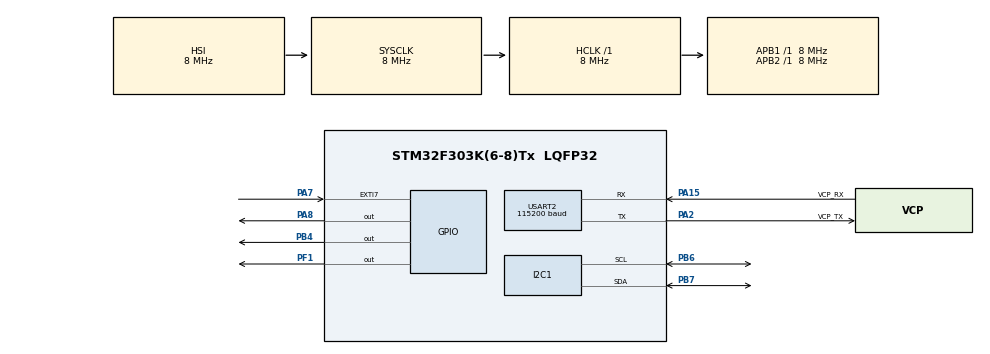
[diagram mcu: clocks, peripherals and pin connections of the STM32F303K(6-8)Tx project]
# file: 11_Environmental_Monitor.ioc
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I2C1.Timing=0x00201D2B
Mcu.Family=STM32F3
Mcu.Name=STM32F303K(6-8)Tx
Mcu.Package=LQFP32
NVIC.EXTI9_5_IRQn=true\:0\:0\:false\:false\:true\:true\:true\:true
NVIC.PriorityGroup=NVIC_PRIORITYGROUP_4
NVIC.TIM3_IRQn=true\:0\:0\:false\:false\:true\:true\:true\:true
NVIC.USART2_IRQn=true\:0\:0\:false\:false\:true\:true\:true\:true
PA13.GPIO_Label=SWDIO
PA13.Mode=Serial_Wire
PA13.Signal=SYS_JTMS-SWDIO
PA14.GPIO_Label=SWCLK
PA14.Mode=Serial_Wire
PA14.Signal=SYS_JTCK-SWCLK
PA15.GPIO_Label=VCP_RX
PA15.Mode=Asynchronous
PA15.Signal=USART2_RX
PA2.GPIO_Label=VCP_TX
PA2.Mode=Asynchronous
PA2.Signal=USART2_TX
PA7.Signal=GPXTI7
PA8.Signal=GPIO_Output
PB4.Signal=GPIO_Output
PB6.Mode=I2C
PB6.Signal=I2C1_SCL
PB7.Mode=I2C
PB7.Signal=I2C1_SDA
PF0\ /\ OSC_IN.GPIO_Label=MCO
PF0\ /\ OSC_IN.Mode=HSE-External-Clock-Source
PF0\ /\ OSC_IN.Signal=RCC_OSC_IN
PF1\ /\ OSC_OUT.Signal=GPIO_Output
ProjectManager.HeapSize=0x200
ProjectManager.StackSize=0x400
ProjectManager.TargetToolchain=STM32CubeIDE
RCC.AHBFreq_Value=8000000
RCC.APB1Freq_Value=8000000
RCC.APB2Freq_Value=8000000
RCC.CortexFreq_Value=8000000
RCC.HSE_VALUE=8000000
RCC.HSI_VALUE=8000000
RCC.SYSCLKFreq_VALUE=8000000
TIM3.Period=1000-1
TIM3.Prescaler=8-1
USART2.BaudRate=115200
USART2.VirtualMode-Asynchronous=VM_ASYNC
VP_TIM3_VS_ClockSourceINT.Mode=Internal
board=NUCLEO-F303K8

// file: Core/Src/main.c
/* USER CODE BEGIN Header */
/**
  ******************************************************************************
  * @file           : main.c
  * @brief          : Main program body
  ******************************************************************************
  * @attention
  *
  * Copyright (c) 2026 STMicroelectronics.
  * All rights reserved.
  *
  * This software is licensed under terms that can be found in the LICENSE file
  * in the root directory of this software component.
  * If no LICENSE file comes with this software, it is provided AS-IS.
  *
  ******************************************************************************
  */
/* USER CODE END Header */
#include "main.h"

/* USER CODE BEGIN Includes */

#include <stdbool.h>
#include <stdio.h>
#include <math.h>
#include <string.h>

/* USER CODE END Includes */

/* USER CODE BEGIN PD */

#define SEGMENT_BLANK 0b00000000
#define SEGMENT_NEGATIVE 0b01000000
#define SEGMENT_DP 0b10000000

#define BME280_addr (0x76 << 1)

/* USER CODE END PD */

I2C_HandleTypeDef hi2c1;

TIM_HandleTypeDef htim3;

UART_HandleTypeDef huart2;

/* USER CODE BEGIN PV */

// 7 segment display variables
const uint8_t digit_segments[10] = {
		0b00111111, //0
		0b00000110, //1
		0b01011011, //2
		0b01001111, //3
		0b01100110, //4
		0b01101101, //5
		0b01111101, //6
		0b00000111, //7
		0b01111111, //8
		0b01100111  //9
};

const uint8_t digit_position[4] = { // 3 is rightmost digit
		0b00001000, //0
		0b00000100, //1
		0b00000010, //2
		0b00000001  //3
};

uint8_t segment_display[4] = {
		SEGMENT_BLANK,
		SEGMENT_BLANK,
		SEGMENT_BLANK,
		SEGMENT_BLANK};

uint16_t segment_position_binary[4];

float input;

// Button debounce variables

uint32_t currentDebounce = 0;
uint32_t lastDebounce = 0;
volatile uint8_t state = 0;

// BME280 variables

uint8_t config_hum = 0x01;
uint8_t config_pres_temp = 0x27;

HAL_StatusTypeDef ret;

uint8_t sensor_data[8];

int32_t pres_data;
int32_t temp_data;
uint16_t hum_data;

float temperature;
float pressure;
float humidity;

// Calibration parameter variables
uint16_t dig_T1;
int16_t dig_T2;
int16_t dig_T3;

uint16_t dig_P1;
int16_t dig_P2;
int16_t dig_P3;
int16_t dig_P4;
int16_t dig_P5;
int16_t dig_P6;
int16_t dig_P7;
int16_t dig_P8;
int16_t dig_P9;

uint8_t dig_H1;
int16_t dig_H2;
uint8_t dig_H3;
int16_t dig_H4;
int16_t dig_H5;
int8_t dig_H6;

// UART varaibles

char rx_buffer[30];
char command_buffer[30];
char rx_char;
int array_index = 0;

volatile bool output_flag = false;
volatile bool command_uncomplete = false;
bool stream = false;

const char *state_name[3] = {
		"temperature",
		"pressure",
		"humidity"};

/* USER CODE END PV */

void SystemClock_Config(void);
static void MX_GPIO_Init(void);
static void MX_USART2_UART_Init(void);
static void MX_I2C1_Init(void);
static void MX_TIM3_Init(void);
/* USER CODE BEGIN PFP */

// prototype functions

// 7 segment display
void float_to_digit (float num, uint8_t decimal);

// BME280 sensor
HAL_StatusTypeDef BME280_init(void);
HAL_StatusTypeDef BME280_calibration_parameters(void);
void BME280_ReadData(void);

int32_t  BME280_compensate_T_int32(int32_t adc_T);
uint32_t BME280_compensate_P_int64(int32_t adc_P);
uint32_t BME280_compensate_H_int32(int32_t adc_H);

// UART
void print_serial_monitor(void);

/* USER CODE END PFP */

int main(void)
{

  /* MCU Configuration--------------------------------------------------------*/

  /* Reset of all peripherals, Initializes the Flash interface and the Systick. */
  HAL_Init();

  /* Configure the system clock */
  SystemClock_Config();

  /* Initialize all configured peripherals */
  MX_GPIO_Init();
  MX_USART2_UART_Init();
  MX_I2C1_Init();
  MX_TIM3_Init();
  /* USER CODE BEGIN 2 */

  // Start sensor
  ret = BME280_init();
  if(ret != HAL_OK){
  		printf("BME280 initialization error\r\n");
  		return ret;
  }

  // Timer starts
  HAL_TIM_Base_Start_IT(&htim3);

  // UART takes char from serial monitor
  HAL_UART_Receive_IT(&huart2, (uint8_t *)&rx_char, 1);

  /* USER CODE END 2 */

  /* Infinite loop */
  /* USER CODE BEGIN WHILE */
  while (1)
  {

	  // Read data from sensor
	  BME280_ReadData();

	  switch(state){
		case 0:
			float_to_digit(temperature, 1);
			break;
		case 1:
			float_to_digit(pressure, 0);
			break;
		case 2:
			float_to_digit(humidity, 1);
			break;
		default:
		    break;
	  }

	  if(stream){
		  printf("Temperature: %.2f °C\r\n", temperature);
		  printf("Pressure: %.2f hPa\r\n", pressure);
		  printf("Humidity: %.2f %%RH\r\n", humidity);
		  printf("State: %s\r\n\n", state_name[state]);
	  }

	  if(output_flag){
		  print_serial_monitor();
		  output_flag = false;
	  }

	  if (command_uncomplete)
	  {
	      printf("Command still in progress, please wait!\r\n");
	      command_uncomplete = false;
	  }

	  HAL_Delay(750);

    /* USER CODE END WHILE */

  }
}

void SystemClock_Config(void)
{
  RCC_OscInitTypeDef RCC_OscInitStruct = {0};
  RCC_ClkInitTypeDef RCC_ClkInitStruct = {0};
  RCC_PeriphCLKInitTypeDef PeriphClkInit = {0};

  /** Initializes the RCC Oscillators according to the specified parameters
  * in the RCC_OscInitTypeDef structure.
  */
  RCC_OscInitStruct.OscillatorType = RCC_OSCILLATORTYPE_HSI;
  RCC_OscInitStruct.HSIState = RCC_HSI_ON;
  RCC_OscInitStruct.HSICalibrationValue = RCC_HSICALIBRATION_DEFAULT;
  RCC_OscInitStruct.PLL.PLLState = RCC_PLL_NONE;
  if (HAL_RCC_OscConfig(&RCC_OscInitStruct) != HAL_OK)
  {
    Error_Handler();
  }

  /** Initializes the CPU, AHB and APB buses clocks
  */
  RCC_ClkInitStruct.ClockType = RCC_CLOCKTYPE_HCLK|RCC_CLOCKTYPE_SYSCLK
                              |RCC_CLOCKTYPE_PCLK1|RCC_CLOCKTYPE_PCLK2;
  RCC_ClkInitStruct.SYSCLKSource = RCC_SYSCLKSOURCE_HSI;
  RCC_ClkInitStruct.AHBCLKDivider = RCC_SYSCLK_DIV1;
  RCC_ClkInitStruct.APB1CLKDivider = RCC_HCLK_DIV1;
  RCC_ClkInitStruct.APB2CLKDivider = RCC_HCLK_DIV1;

  if (HAL_RCC_ClockConfig(&RCC_ClkInitStruct, FLASH_LATENCY_0) != HAL_OK)
  {
    Error_Handler();
  }
  PeriphClkInit.PeriphClockSelection = RCC_PERIPHCLK_I2C1;
  PeriphClkInit.I2c1ClockSelection = RCC_I2C1CLKSOURCE_HSI;
  if (HAL_RCCEx_PeriphCLKConfig(&PeriphClkInit) != HAL_OK)
  {
    Error_Handler();
  }
}

static void MX_I2C1_Init(void)
{

  hi2c1.Instance = I2C1;
  hi2c1.Init.Timing = 0x00201D2B;
  hi2c1.Init.OwnAddress1 = 0;
  hi2c1.Init.AddressingMode = I2C_ADDRESSINGMODE_7BIT;
  hi2c1.Init.DualAddressMode = I2C_DUALADDRESS_DISABLE;
  hi2c1.Init.OwnAddress2 = 0;
  hi2c1.Init.OwnAddress2Masks = I2C_OA2_NOMASK;
  hi2c1.Init.GeneralCallMode = I2C_GENERALCALL_DISABLE;
  hi2c1.Init.NoStretchMode = I2C_NOSTRETCH_DISABLE;
  if (HAL_I2C_Init(&hi2c1) != HAL_OK)
  {
    Error_Handler();
  }

  /** Configure Analogue filter
  */
  if (HAL_I2CEx_ConfigAnalogFilter(&hi2c1, I2C_ANALOGFILTER_ENABLE) != HAL_OK)
  {
    Error_Handler();
  }

  /** Configure Digital filter
  */
  if (HAL_I2CEx_ConfigDigitalFilter(&hi2c1, 0) != HAL_OK)
  {
    Error_Handler();
  }

}

static void MX_TIM3_Init(void)
{

  TIM_ClockConfigTypeDef sClockSourceConfig = {0};
  TIM_MasterConfigTypeDef sMasterConfig = {0};

  htim3.Instance = TIM3;
  htim3.Init.Prescaler = 8-1;
  htim3.Init.CounterMode = TIM_COUNTERMODE_UP;
  htim3.Init.Period = 1000-1;
  htim3.Init.ClockDivision = TIM_CLOCKDIVISION_DIV1;
  htim3.Init.AutoReloadPreload = TIM_AUTORELOAD_PRELOAD_DISABLE;
  if (HAL_TIM_Base_Init(&htim3) != HAL_OK)
  {
    Error_Handler();
  }
  sClockSourceConfig.ClockSource = TIM_CLOCKSOURCE_INTERNAL;
  if (HAL_TIM_ConfigClockSource(&htim3, &sClockSourceConfig) != HAL_OK)
  {
    Error_Handler();
  }
  sMasterConfig.MasterOutputTrigger = TIM_TRGO_RESET;
  sMasterConfig.MasterSlaveMode = TIM_MASTERSLAVEMODE_DISABLE;
  if (HAL_TIMEx_MasterConfigSynchronization(&htim3, &sMasterConfig) != HAL_OK)
  {
    Error_Handler();
  }

}

static void MX_USART2_UART_Init(void)
{

  huart2.Instance = USART2;
  huart2.Init.BaudRate = 115200;
  huart2.Init.WordLength = UART_WORDLENGTH_8B;
  huart2.Init.StopBits = UART_STOPBITS_1;
  huart2.Init.Parity = UART_PARITY_NONE;
  huart2.Init.Mode = UART_MODE_TX_RX;
  huart2.Init.HwFlowCtl = UART_HWCONTROL_NONE;
  huart2.Init.OverSampling = UART_OVERSAMPLING_16;
  huart2.Init.OneBitSampling = UART_ONE_BIT_SAMPLE_DISABLE;
  huart2.AdvancedInit.AdvFeatureInit = UART_ADVFEATURE_NO_INIT;
  if (HAL_UART_Init(&huart2) != HAL_OK)
  {
    Error_Handler();
  }

}

static void MX_GPIO_Init(void)
{
  GPIO_InitTypeDef GPIO_InitStruct = {0};

  /* GPIO Ports Clock Enable */
  __HAL_RCC_GPIOF_CLK_ENABLE();
  __HAL_RCC_GPIOA_CLK_ENABLE();
  __HAL_RCC_GPIOB_CLK_ENABLE();

  /*Configure GPIO pin Output Level */
  HAL_GPIO_WritePin(GPIOF, GPIO_PIN_1, GPIO_PIN_RESET);

  /*Configure GPIO pin Output Level */
  HAL_GPIO_WritePin(GPIOA, GPIO_PIN_8, GPIO_PIN_RESET);

  /*Configure GPIO pin Output Level */
  HAL_GPIO_WritePin(GPIOB, GPIO_PIN_4, GPIO_PIN_RESET);

  /*Configure GPIO pin : PF1 */
  GPIO_InitStruct.Pin = GPIO_PIN_1;
  GPIO_InitStruct.Mode = GPIO_MODE_OUTPUT_PP;
  GPIO_InitStruct.Pull = GPIO_NOPULL;
  GPIO_InitStruct.Speed = GPIO_SPEED_FREQ_LOW;
  HAL_GPIO_Init(GPIOF, &GPIO_InitStruct);

  /*Configure GPIO pin : PA7 */
  GPIO_InitStruct.Pin = GPIO_PIN_7;
  GPIO_InitStruct.Mode = GPIO_MODE_IT_RISING;
  GPIO_InitStruct.Pull = GPIO_NOPULL;
  HAL_GPIO_Init(GPIOA, &GPIO_InitStruct);

  /*Configure GPIO pin : PA8 */
  GPIO_InitStruct.Pin = GPIO_PIN_8;
  GPIO_InitStruct.Mode = GPIO_MODE_OUTPUT_PP;
  GPIO_InitStruct.Pull = GPIO_NOPULL;
  GPIO_InitStruct.Speed = GPIO_SPEED_FREQ_LOW;
  HAL_GPIO_Init(GPIOA, &GPIO_InitStruct);

  /*Configure GPIO pin : PB4 */
  GPIO_InitStruct.Pin = GPIO_PIN_4;
  GPIO_InitStruct.Mode = GPIO_MODE_OUTPUT_PP;
  GPIO_InitStruct.Pull = GPIO_NOPULL;
  GPIO_InitStruct.Speed = GPIO_SPEED_FREQ_LOW;
  HAL_GPIO_Init(GPIOB, &GPIO_InitStruct);

  /* EXTI interrupt init*/
  HAL_NVIC_SetPriority(EXTI9_5_IRQn, 0, 0);
  HAL_NVIC_EnableIRQ(EXTI9_5_IRQn);

}

/* USER CODE BEGIN 4 */

// Function to convert float to 4 digits for 7 segment display

void float_to_digit (float num, uint8_t decimal){

	bool negative = false;
	bool value_is_zero;
	uint16_t temp_num;
	uint8_t decimal_position;

	num = num * pow(10, decimal);

	if(num < 0){
		negative = true;
		num = -num;
	}

	temp_num = (uint16_t)(num + 0.5f);

	value_is_zero = (temp_num == 0);

	for(uint8_t i = 0; i < 4; i ++){
		if(temp_num > 0 || (value_is_zero && i == 0)){
			segment_display[3-i] = digit_segments[temp_num % 10];
			temp_num = temp_num / 10;
		}
		else if(negative){
			segment_display[3-i] = SEGMENT_NEGATIVE;
			negative = false;
		}
		else
			segment_display[3-i] = SEGMENT_BLANK;
	}

	if(decimal > 0 && decimal <4){
		decimal_position = 3 - decimal;

		if(segment_display[decimal_position] == SEGMENT_BLANK)
			segment_display[decimal_position] = digit_segments[0];

		segment_display[decimal_position] = segment_display[decimal_position] | SEGMENT_DP;
	}
}

void ShiftOut16(uint16_t input)
{
    for(int i = 15; i >= 0; i--)
    {
        // Put bit i onto DATA
    	if(input & (1U << i))
    		HAL_GPIO_WritePin(GPIOF, GPIO_PIN_1, GPIO_PIN_SET);
    	else
    		HAL_GPIO_WritePin(GPIOF, GPIO_PIN_1, GPIO_PIN_RESET);

        // Pulse CLOCK
    	HAL_GPIO_WritePin(GPIOB, GPIO_PIN_4, GPIO_PIN_SET);
    	HAL_GPIO_WritePin(GPIOB, GPIO_PIN_4, GPIO_PIN_RESET);
    }

    // Pulse LATCH
    HAL_GPIO_WritePin(GPIOA, GPIO_PIN_8, GPIO_PIN_SET);
    HAL_GPIO_WritePin(GPIOA, GPIO_PIN_8, GPIO_PIN_RESET);
}

void refresh_display(void){

	static uint8_t digit_current = 0;

	segment_position_binary[digit_current] = (uint16_t)segment_display[digit_current] << 8 | digit_position[digit_current];

    ShiftOut16(segment_position_binary[digit_current]);

    digit_current++;

    if (digit_current >= 4)
    	digit_current = 0;
}

void HAL_TIM_PeriodElapsedCallback (TIM_HandleTypeDef * htim){

	if(htim == &htim3){
		refresh_display();
	}

}

// Function for button & debounce

void HAL_GPIO_EXTI_Callback(uint16_t GPIO_Pin){

	currentDebounce = HAL_GetTick();

	if((currentDebounce-lastDebounce) >= 125 && GPIO_Pin == GPIO_PIN_7){
		lastDebounce = currentDebounce;

		if(state < 2)
			state ++;
		else
			state = 0;

	}
}

// Functions for BME280 sensor

HAL_StatusTypeDef  BME280_init(){

	HAL_StatusTypeDef ret;

	ret = HAL_I2C_Mem_Write(&hi2c1, BME280_addr, 0xF2, I2C_MEMADD_SIZE_8BIT, &config_hum, 1, HAL_MAX_DELAY);
	if(ret != HAL_OK){
		printf("Write Error for humidity sensor\r\n");
		return ret;
	}
	ret = HAL_I2C_Mem_Write(&hi2c1, BME280_addr, 0xF4, I2C_MEMADD_SIZE_8BIT, &config_pres_temp, 1, HAL_MAX_DELAY);
	if(ret != HAL_OK){
		printf("Write Error for temperature & pressure sensor\r\n");
		return ret;
	}

	return BME280_calibration_parameters();

}

void BME280_ReadData(){

	ret = HAL_I2C_Mem_Read(&hi2c1, BME280_addr, 0xF7, I2C_MEMADD_SIZE_8BIT, sensor_data, 8, HAL_MAX_DELAY);
	if(ret != HAL_OK){
		printf("Read Error\r\n");
		return;
	}

	pres_data = ((int32_t)sensor_data[0] << 12 ) | ((int32_t)sensor_data[1] <<4 ) | ((int32_t)sensor_data[2] >> 4 );

	temp_data = ((int32_t)sensor_data[3] << 12)| ((int32_t)sensor_data[4] <<4)  | ((int32_t)sensor_data[5] >> 4 );

	hum_data = ((uint32_t)sensor_data[6]<< 8) | ((uint32_t)sensor_data[7]);

	temperature = BME280_compensate_T_int32(temp_data) / 100.0f;
	pressure = BME280_compensate_P_int64(pres_data) / 25600.0f;
	humidity = BME280_compensate_H_int32(hum_data) / 1024.0f;

}

// UART function to store string in char array

void HAL_UART_RxCpltCallback(UART_HandleTypeDef *huart)
{
	if(huart == &huart2){
		if(rx_char == '\r' || rx_char == '\n'){

			if(array_index > 0){

				rx_buffer[array_index] = '\0';

				if(!output_flag){
					strcpy(command_buffer, rx_buffer);
					output_flag = true;
				}
				else
				{
				    command_uncomplete = true;
				}

				array_index = 0;
			}
		}
		else if(array_index < (sizeof(rx_buffer) - 1)){
			rx_buffer[array_index] = rx_char;
			array_index++;
		}

	HAL_UART_Receive_IT(&huart2, (uint8_t *)&rx_char, 1);

	}
}

// Print to serial monitor function

void print_serial_monitor(void){

	if(strcmp(command_buffer,"stream") == 0){
		stream = true;
		printf("Stream enabled\r\n");
	}
	else if(strcmp(command_buffer,"stop") == 0){
		stream = false;
		printf("Stream disabled\r\n");
	}
	else if(strcmp(command_buffer,"temp") == 0){
		printf("Temperature: %.2f °C\r\n", temperature);
	}
	else if(strcmp(command_buffer,"pres") == 0){
		printf("Pressure: %.2f hPa\r\n", pressure);
	}
	else if(strcmp(command_buffer,"hum") == 0){
		printf("Humidity: %.2f %%RH\r\n", humidity);
	}
	else if(strcmp(command_buffer,"state") == 0){
		printf("State: %s\r\n", state_name[state]);
	}
	else{
		printf("Unrecognized command.\r\n");
	}

	printf("\n");

}

// Necessary function to allow printf to work

int __io_putchar(int ch)
{
	HAL_UART_Transmit(&huart2, (uint8_t *)&ch, 1, HAL_MAX_DELAY);
	return ch;
}

//Storing the hard-coded calibration parameters from bme280 into usable variables

HAL_StatusTypeDef BME280_calibration_parameters(){

uint8_t calibration1[26];
uint8_t calibration2[7];

HAL_StatusTypeDef ret;

ret = HAL_I2C_Mem_Read(&hi2c1, BME280_addr, 0x88, I2C_MEMADD_SIZE_8BIT, calibration1, sizeof(calibration1), HAL_MAX_DELAY);
	if(ret != HAL_OK){
		printf("Calibration parameter set 1 Read Error\r\n");
		return ret;
	}
ret = HAL_I2C_Mem_Read(&hi2c1, BME280_addr, 0xE1, I2C_MEMADD_SIZE_8BIT, calibration2, sizeof(calibration2), HAL_MAX_DELAY);
	if(ret != HAL_OK){
		printf("Calibration parameter set 2 Read Error\r\n");
		return ret;
	}

dig_T1 = ((uint16_t)calibration1[1] << 8) | calibration1[0];
dig_T2 = (int16_t)(((uint16_t)calibration1[3] << 8) | calibration1[2]);
dig_T3 = (int16_t)(((uint16_t)calibration1[5] << 8) | calibration1[4]);

dig_P1 = ((uint16_t)calibration1[7] << 8) | calibration1[6];
dig_P2 = (int16_t)(((uint16_t)calibration1[9] << 8) | calibration1[8]);
dig_P3 = (int16_t)(((uint16_t)calibration1[11] << 8) | calibration1[10]);
dig_P4 = (int16_t)(((uint16_t)calibration1[13] << 8) | calibration1[12]);
dig_P5 = (int16_t)(((uint16_t)calibration1[15] << 8) | calibration1[14]);
dig_P6 = (int16_t)(((uint16_t)calibration1[17] << 8) | calibration1[16]);
dig_P7 = (int16_t)(((uint16_t)calibration1[19] << 8) | calibration1[18]);
dig_P8 = (int16_t)(((uint16_t)calibration1[21] << 8) | calibration1[20]);
dig_P9 = (int16_t)(((uint16_t)calibration1[23] << 8) | calibration1[22]);

dig_H1 = calibration1[25];
dig_H2 = (int16_t)(((uint16_t)calibration2[1] << 8) | calibration2[0]);
dig_H3 = calibration2[2];
dig_H4 = (int16_t)(((int16_t)(int8_t)calibration2[3] << 4) | (calibration2[4] & (0x0F)));
dig_H5 = (int16_t)(((int16_t)(int8_t)calibration2[5] << 4) | (calibration2[4] >> 4));
dig_H6 = (int8_t)calibration2[6];

return HAL_OK;
}

// Returns temperature in DegC, resolution is 0.01 DegC.
// Output value of "5123" equals 51.23 DegC.
// t_fine carries fine temperature as global value.

int32_t t_fine;

int32_t BME280_compensate_T_int32(int32_t adc_T)
{
    int32_t var1, var2, T;

    var1 = ((((adc_T >> 3) - ((int32_t)dig_T1 << 1))) *
            ((int32_t)dig_T2)) >> 11;

    var2 = (((((adc_T >> 4) - ((int32_t)dig_T1)) *
             ((adc_T >> 4) - ((int32_t)dig_T1))) >> 12) *
             ((int32_t)dig_T3)) >> 14;

    t_fine = var1 + var2;

    T = (t_fine * 5 + 128) >> 8;

    return T;
}

// Returns pressure in Pa as unsigned 32-bit integer in Q24.8 format
// (24 integer bits and 8 fractional bits)
// Example:
// 24674867 represents 24674867 / 256 = 96386.2 Pa = 963.862 hPa

uint32_t BME280_compensate_P_int64(int32_t adc_P)
{
    int64_t var1, var2, p;

    var1 = ((int64_t)t_fine) - 128000;
    var2 = var1 * var1 * (int64_t)dig_P6;
    var2 = var2 + ((var1 * (int64_t)dig_P5) << 17);
    var2 = var2 + (((int64_t)dig_P4) << 35);
    var1 = ((var1 * var1 * (int64_t)dig_P3) >> 8) +
           ((var1 * (int64_t)dig_P2) << 12);
    var1 = (((((int64_t)1) << 47) + var1) *
            ((int64_t)dig_P1)) >> 33;

    if (var1 == 0)
    {
        return 0; // Avoid division by zero
    }

    p = 1048576 - adc_P;
    p = (((p << 31) - var2) * 3125) / var1;
    var1 = (((int64_t)dig_P9) * (p >> 13) * (p >> 13)) >> 25;
    var2 = (((int64_t)dig_P8) * p) >> 19;

    p = ((p + var1 + var2) >> 8) +
        (((int64_t)dig_P7) << 4);

    return (uint32_t)p;
}

// Returns humidity in %RH as unsigned 32-bit integer in Q22.10 format
// (22 integer bits and 10 fractional bits)
// Example:
// 47445 represents 47445 / 1024 = 46.333 %RH

uint32_t BME280_compensate_H_int32(int32_t adc_H)
{
    int32_t v_x1_u32r;

    v_x1_u32r = (t_fine - ((int32_t)76800));

    v_x1_u32r = (((((adc_H << 14) -
                   (((int32_t)dig_H4) << 20) -
                   (((int32_t)dig_H5) * v_x1_u32r)) +
                   ((int32_t)16384)) >> 15) *
                 (((((((v_x1_u32r * ((int32_t)dig_H6)) >> 10) *
                 (((v_x1_u32r * ((int32_t)dig_H3)) >> 11) +
                 ((int32_t)32768))) >> 10) +
                 ((int32_t)2097152)) *
                 ((int32_t)dig_H2) + 8192) >> 14));

    v_x1_u32r = (v_x1_u32r -
                (((((v_x1_u32r >> 15) *
                (v_x1_u32r >> 15)) >> 7) *
                ((int32_t)dig_H1)) >> 4));

    v_x1_u32r = (v_x1_u32r < 0 ? 0 : v_x1_u32r);

    v_x1_u32r = (v_x1_u32r > 419430400 ?
                419430400 : v_x1_u32r);

    return (uint32_t)(v_x1_u32r >> 12);
}

/* USER CODE END 4 */

void Error_Handler(void)
{
  __disable_irq();
  while (1)
  {
  }
}
